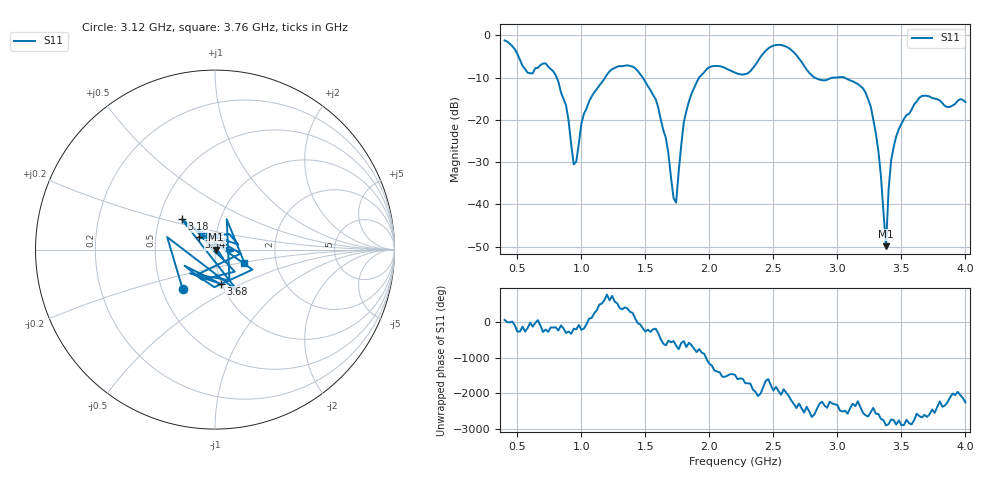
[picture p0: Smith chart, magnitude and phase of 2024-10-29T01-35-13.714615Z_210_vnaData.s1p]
!Created with skrf (http://scikit-rf.org).
# Hz S RI R 50.0
!freq ReS11 ImS11
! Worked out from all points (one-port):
!   181 points, 400 MHz to 4 GHz, reference 50 ohm
!   lowest |S11| = -49.9 dB at 3.38 GHz (marker M1), VSWR 1.01, Z = 50.3 - j0.0903 ohm
!   |S11| at or under -10 dB: 807.1 MHz to 1.185 GHz (378.1 MHz wide, 38 % of centre); 1.479 GHz to 1.919 GHz (440.1 MHz wide, 25.9 % of centre); 3.054 GHz to end of sweep (the widest 3 of 4)
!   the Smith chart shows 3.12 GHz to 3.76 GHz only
!   S11 on the Smith chart (normalised r, x): 3.12 GHz: 0.64, -0.31; 3.18 GHz: 0.65, +0.24; 3.54 GHz: 0.83, +0.12; 3.68 GHz: 0.99, -0.39; 3.76 GHz: 1.37, -0.21
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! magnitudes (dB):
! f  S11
! 400 MHz  -1.2
! 580 MHz  -8.8
! 720 MHz  -6.6
! 860 MHz  -15.0
! 940 MHz  -30.5
! 1.06 GHz  -15.6
! 1.3 GHz  -7.3
! 1.58 GHz  -15.1
! 1.66 GHz  -24.3
! 1.72 GHz  -38.5
! 1.74 GHz  -39.6
! 1.76 GHz  -32.3
! 1.8 GHz  -20.6
! 1.92 GHz  -10.0
! 2.2 GHz  -8.8
! 2.66 GHz  -4.0
! 2.82 GHz  -10.0
! 3.1 GHz  -10.7
! 3.12 GHz  -10.9
! 3.18 GHz  -12.0
! 3.3 GHz  -23.1
! 3.38 GHz  -49.9
! 3.42 GHz  -29.5
! 3.54 GHz  -18.8
! 3.56 GHz  -18.6
! 3.68 GHz  -14.3
! 3.76 GHz  -15.0
! 4 GHz  -15.8
